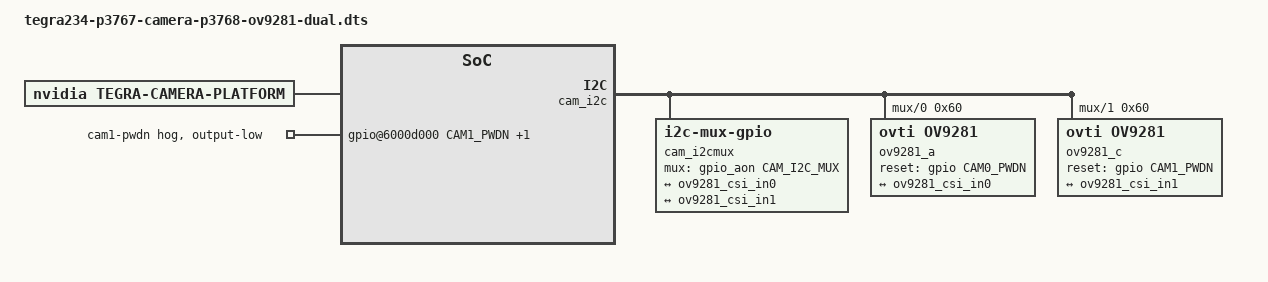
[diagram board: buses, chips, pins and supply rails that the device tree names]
// SPDX-License-Identifier: GPL-2.0-only
/*
 * Jetson Device-tree overlay for dual camera OV9281 on dual
 * cam connector baseboards
 *
 * Copyright (c) 2022-2023 NVIDIA CORPORATION. All rights reserved.
 *
 */

/dts-v1/;
/plugin/;


#define CAM0_PWDN       TEGRA234_MAIN_GPIO(H, 6)
#define CAM1_PWDN       TEGRA234_MAIN_GPIO(AC, 0)
#define CAM_I2C_MUX     TEGRA234_AON_GPIO(CC, 3)

#include <dt-bindings/tegra234-p3767-0000-common.h>
//#include <dt-bindings/clock/tegra234-clock.h>

/ {
       overlay-name = "Camera OV9281 Dual";
       jetson-header-name = "Jetson 24pin CSI Connector";
       compatible = JETSON_COMPATIBLE_P3768;

       fragment@0 {
                target-path = "/";
                __overlay__ {
		       tegra-capture-vi  {
				num-channels = <2>;
				ports {
					#address-cells = <1>;
					#size-cells = <0>;
					port@0 {
						reg = <0>;
						ov9281_vi_in0: endpoint {
							port-index = <1>;
							bus-width = <2>;
							remote-endpoint = <&ov9281_csi_out0>;
						};
					};
					port@1 {
						reg = <1>;
						ov9281_vi_in1: endpoint {
							port-index = <2>;
							bus-width = <2>;
							remote-endpoint = <&ov9281_csi_out1>;
						};
					};
				};
			};
		        tegra-camera-platform {
				compatible = "nvidia, tegra-camera-platform";
				/**
				* Physical settings to calculate max ISO BW
				*
				* num_csi_lanes = <>;
				* Total number of CSI lanes when all cameras are active
				*
				* max_lane_speed = <>;
				* Max lane speed in Kbit/s
				*
				* min_bits_per_pixel = <>;
				* Min bits per pixel
				*
				* vi_peak_byte_per_pixel = <>;
				* Max byte per pixel for the VI ISO case
				*
				* vi_bw_margin_pct = <>;
				* Vi bandwidth margin in percentage
				*
				* max_pixel_rate = <>;
				* Max pixel rate in Kpixel/s for the ISP ISO case
				*
				* isp_peak_byte_per_pixel = <>;
				* Max byte per pixel for the ISP ISO case
				*
				* isp_bw_margin_pct = <>;
				* Isp bandwidth margin in percentage
				*/
				num_csi_lanes = <4>;
				max_lane_speed = <1500000>;
				min_bits_per_pixel = <8>;
				vi_peak_byte_per_pixel = <2>;
				vi_bw_margin_pct = <25>;
				max_pixel_rate = <7500000>; /* RJS <240000>; */
				isp_peak_byte_per_pixel = <5>;
				isp_bw_margin_pct = <25>;

				/**
				 * The general guideline for naming badge_info contains 3 parts, and is as follows,
				 * The first part is the camera_board_id for the module; if the module is in a FFD
				 * platform, then use the platform name for this part.
				 * The second part contains the position of the module, ex. "rear" or "front".
				 * The third part contains the last 6 characters of a part number which is found
				 * in the module's specsheet from the vendor.
				 */
				modules {
					module0 {
						badge = "jakku_front_RBP194";
						position = "front";
						orientation = "1";
						drivernode0 {
							pcl_id = "v4l2_sensor";
							sysfs-device-tree = "/sys/firmware/devicetree/base/bus@0/cam_i2cmux/i2c@0/ov9281_a@60";
						};
					};
					module1 {
						badge = "jakku_rear_RBP194";
						position = "rear";
						orientation = "1";
						drivernode0 {
						       pcl_id = "v4l2_sensor";
							sysfs-device-tree = "/sys/firmware/devicetree/base/bus@0/cam_i2cmux/i2c@1/ov9281_c@60";
						};
					};
				};
			};
                        bus@0 {
				host1x@13e00000 {
					nvcsi@15a00000 {
						num-channels = <2>;
						#address-cells = <1>;
						#size-cells = <0>;
						channel@0 {
							reg = <0>;
							ports {
								#address-cells = <1>;
								#size-cells = <0>;
								port@0 {
									reg = <0>;
									ov9281_csi_in0: endpoint@0 {
										port-index = <1>;
										bus-width = <2>;
										remote-endpoint = <&ov9281_out0>;
									};
								};
								port@1 {
									reg = <1>;
									ov9281_csi_out0: endpoint@1 {
										remote-endpoint = <&ov9281_vi_in0>;
									};
								};
							};
						};
						channel@1 {
							reg = <1>;
							ports {
								#address-cells = <1>;
								#size-cells = <0>;
								port@0 {
									reg = <0>;
									ov9281_csi_in1: endpoint@2 {
										port-index = <2>;
										bus-width = <2>;
										remote-endpoint = <&ov9281_out1>;
									};
								};
								port@1 {
									reg = <1>;
									ov9281_csi_out1: endpoint@3 {
										remote-endpoint = <&ov9281_vi_in1>;
									};
								};
							};
						};
					};
				};
				cam_i2cmux {
				       status = "okay";
				       compatible = "i2c-mux-gpio";
				       #address-cells = <1>;
				       #size-cells = <0>;
				       mux-gpios = <&gpio_aon CAM_I2C_MUX GPIO_ACTIVE_HIGH>;
				       i2c-parent = <&cam_i2c>;
				       i2c@0 {
					       status = "okay";
					       reg = <0>;
					       #address-cells = <1>;
					       #size-cells = <0>;
						rbpcv2_imx219_a@10 {
							status = "disabled";
						};
						ov9281_a@60 {
						       reset-gpios = <&gpio CAM0_PWDN GPIO_ACTIVE_HIGH>;
							compatible = "ovti,ov9281";
							/* I2C device address */
							reg = <0x60>;

							/*hzhy add */
							/*clocks = <&bpmp_clk TEGRA234_CLK_EXTPERIPH1>;
							clock-names = "extperiph1";
							mclk = "extperiph1";
							fsync = "none"; */

							/* V4L2 device node location */
							devnode = "video0";

							/* Physical dimensions of sensor */
							physical_w = "3.680";
							physical_h = "2.760";

							sensor_model = "ov9281";

							use_sensor_mode_id = "true";

							/**
							* ==== Modes ====
							* A modeX node is required to support v4l2 driver
							* implementation with NVIDIA camera software stack
							*
							* == Signal properties ==
							*
							* phy_mode = "";
							* PHY mode used by the MIPI lanes for this device
							*
							* tegra_sinterface = "";
							* CSI Serial interface connected to tegra
							* Incase of virtual HW devices, use virtual
							* For SW emulated devices, use host
							*
							* pix_clk_hz = "";
							* Sensor pixel clock used for calculations like exposure and framerate
							*
							* readout_orientation = "0";
							* Based on camera module orientation.
							* Only change readout_orientation if you specifically
							* Program a different readout order for this mode
							*
							* lane_polarity
							* Based on the camera connector pin.
							* CSIx_D0 | CSIx_D1 | CSI(X+1)_D0 | CSI(X+1)CSIx_D1
							*    LSB  |   BIT1  |     BIT2    |      MSB
							* if there is a polarity swap on any lane, the bit corrsponding
							* to the lane should be set
							* e.g. polarity swap on CSIx_D0 only -> lane_polarity = "1"; 0001
							* e.g. polarity swap on CSIx_D1 and CSI(X+1)_D0 -> lane_polarity = "6"; 0110
							*
							* == Image format Properties ==
							*
							* active_w = "";
							* Pixel active region width
							*
							* active_h = "";
							* Pixel active region height
							*
							* pixel_t = "";
							* The sensor readout pixel pattern
							*
							* line_length = "";
							* Pixel line length (width) for sensor mode.
							*
							* == Source Control Settings ==
							*
							* Gain factor used to convert fixed point integer to float
							* Gain range [min_gain/gain_factor, max_gain/gain_factor]
							* Gain step [step_gain/gain_factor is the smallest step that can be configured]
							* Default gain [Default gain to be initialized for the control.
							*     use min_gain_val as default for optimal results]
							* Framerate factor used to convert fixed point integer to float
							* Framerate range [min_framerate/framerate_factor, max_framerate/framerate_factor]
							* Framerate step [step_framerate/framerate_factor is the smallest step that can be configured]
							* Default Framerate [Default framerate to be initialized for the control.
							*     use max_framerate to get required performance]
							* Exposure factor used to convert fixed point integer to float
							* For convenience use 1 sec = 1000000us as conversion factor
							* Exposure range [min_exp_time/exposure_factor, max_exp_time/exposure_factor]
							* Exposure step [step_exp_time/exposure_factor is the smallest step that can be configured]
							* Default Exposure Time [Default exposure to be initialized for the control.
							*     Set default exposure based on the default_framerate for optimal exposure settings]
							*
							* gain_factor = ""; (integer factor used for floating to fixed point conversion)
							* min_gain_val = ""; (ceil to integer)
							* max_gain_val = ""; (ceil to integer)
							* step_gain_val = ""; (ceil to integer)
							* default_gain = ""; (ceil to integer)
							* Gain limits for mode
							*
							* exposure_factor = ""; (integer factor used for floating to fixed point conversion)
							* min_exp_time = ""; (ceil to integer)
							* max_exp_time = ""; (ceil to integer)
							* step_exp_time = ""; (ceil to integer)
							* default_exp_time = ""; (ceil to integer)
							* Exposure Time limits for mode (sec)
							*
							* framerate_factor = ""; (integer factor used for floating to fixed point conversion)
							* min_framerate = ""; (ceil to integer)
							* max_framerate = ""; (ceil to integer)
							* step_framerate = ""; (ceil to integer)
							* default_framerate = ""; (ceil to integer)
							* Framerate limits for mode (fps)
							*
							* embedded_metadata_height = "";
							* Sensor embedded metadata height in units of rows.
							* If sensor does not support embedded metadata value should be 0.
							*/
							mode0 { /* OV9281_MODE_1280x720_144FPS */
								mclk_khz = "24000";
								num_lanes = "2";
								tegra_sinterface = "serial_b";
								phy_mode = "DPHY";
								discontinuous_clk = "yes"; /* yes rjs */
								dpcm_enable = "false";
								cil_settletime = "0";
								lane_polarity = "6";

								active_w = "1280";
								active_h = "720";
								mode_type = "grey";
								pixel_phase = "y";
								csi_pixel_bit_depth = "8";
								readout_orientation = "90";
								line_length = "1355"; /* 1408 rjs */
								inherent_gain = "1";
								/*mclk_multiplier = "9.33";*/ /* 9.33 rjs */
								pix_clk_hz = "130900000"; /* "74250000" ; */ /* 800000000 rjs */

								gain_factor = "1";
								framerate_factor = "1";
								exposure_factor = "1";
								min_gain_val = "1"; /* 1.00x */
								max_gain_val = "8191"; /* 10.66x */
								step_gain_val = "1";
								default_gain = "16"; /* 1.00x */
								min_hdr_ratio = "1";
								max_hdr_ratio = "1";
								min_framerate = "2000000"; /* 2.0 fps */
								max_framerate = "144000000"; /* 120.0 fps */
								step_framerate = "1";
								default_framerate = "144000000"; /* 120.0 fps */
								min_exp_time = "1"; /* us */
								max_exp_time = "16777215"; /* us */
								step_exp_time = "1";
								default_exp_time = "10896"; /* us */

								embedded_metadata_height = "0";
							};

							ports {
								#address-cells = <1>;
								#size-cells = <0>;
								port@0 {
									reg = <0>;
									ov9281_out0: endpoint {
										status = "okay";
										port-index = <1>;
										bus-width = <2>;
										remote-endpoint = <&ov9281_csi_in0>;
									};
								};
							};
						};
					};
					i2c@1 {
					       status = "okay";
					       reg = <1>;
					       #address-cells = <1>;
					       #size-cells = <0>;
						rbpcv2_imx219_c@10 {
							status = "disabled";
						};
						ov9281_c@60 {
						       reset-gpios = <&gpio CAM1_PWDN GPIO_ACTIVE_HIGH>;
							compatible = "ovti,ov9281";
							/* I2C device address */
							reg = <0x60>;

							/*hzhy add */
							
							/*clocks = <&bpmp_clk TEGRA234_CLK_EXTPERIPH1>;
							clock-names = "extperiph1";
							mclk = "extperiph1";
							fsync = "none"; */
							

							/* V4L2 device node location */
							devnode = "video1";

							/* Physical dimensions of sensor */
							physical_w = "3.680";
							physical_h = "2.760";

							sensor_model = "ov9281";

							use_sensor_mode_id = "true";

							/**
							* ==== Modes ====
							* A modeX node is required to support v4l2 driver
							* implementation with NVIDIA camera software stack
							*
							* == Signal properties ==
							*
							* phy_mode = "";
							* PHY mode used by the MIPI lanes for this device
							*
							* tegra_sinterface = "";
							* CSI Serial interface connected to tegra
							* Incase of virtual HW devices, use virtual
							* For SW emulated devices, use host
							*
							* pix_clk_hz = "";
							* Sensor pixel clock used for calculations like exposure and framerate
							*
							* readout_orientation = "0";
							* Based on camera module orientation.
							* Only change readout_orientation if you specifically
							* Program a different readout order for this mode
							*
							* == Image format Properties ==
							*
							* active_w = "";
							* Pixel active region width
							*
							* active_h = "";
							* Pixel active region height
							*
							* pixel_t = "";
							* The sensor readout pixel pattern
							*
							* line_length = "";
							* Pixel line length (width) for sensor mode.
							*
							* == Source Control Settings ==
							*
							* Gain factor used to convert fixed point integer to float
							* Gain range [min_gain/gain_factor, max_gain/gain_factor]
							* Gain step [step_gain/gain_factor is the smallest step that can be configured]
							* Default gain [Default gain to be initialized for the control.
							*     use min_gain_val as default for optimal results]
							* Framerate factor used to convert fixed point integer to float
							* Framerate range [min_framerate/framerate_factor, max_framerate/framerate_factor]
							* Framerate step [step_framerate/framerate_factor is the smallest step that can be configured]
							* Default Framerate [Default framerate to be initialized for the control.
							*     use max_framerate to get required performance]
							* Exposure factor used to convert fixed point integer to float
							* For convenience use 1 sec = 1000000us as conversion factor
							* Exposure range [min_exp_time/exposure_factor, max_exp_time/exposure_factor]
							* Exposure step [step_exp_time/exposure_factor is the smallest step that can be configured]
							* Default Exposure Time [Default exposure to be initialized for the control.
							*     Set default exposure based on the default_framerate for optimal exposure settings]
							*
							* gain_factor = ""; (integer factor used for floating to fixed point conversion)
							* min_gain_val = ""; (ceil to integer)
							* max_gain_val = ""; (ceil to integer)
							* step_gain_val = ""; (ceil to integer)
							* default_gain = ""; (ceil to integer)
							* Gain limits for mode
							*
							* exposure_factor = ""; (integer factor used for floating to fixed point conversion)
							* min_exp_time = ""; (ceil to integer)
							* max_exp_time = ""; (ceil to integer)
							* step_exp_time = ""; (ceil to integer)
							* default_exp_time = ""; (ceil to integer)
							* Exposure Time limits for mode (sec)
							*
							* framerate_factor = ""; (integer factor used for floating to fixed point conversion)
							* min_framerate = ""; (ceil to integer)
							* max_framerate = ""; (ceil to integer)
							* step_framerate = ""; (ceil to integer)
							* default_framerate = ""; (ceil to integer)
							* Framerate limits for mode (fps)
							*
							* embedded_metadata_height = "";
							* Sensor embedded metadata height in units of rows.
							* If sensor does not support embedded metadata value should be 0.
							*/
							mode0 { /* OV9281_MODE_1280x720_144FPS */
								mclk_khz = "24000";
								num_lanes = "2";
								tegra_sinterface = "serial_c";
								phy_mode = "DPHY";
								discontinuous_clk = "yes"; /* yes rjs */
								dpcm_enable = "false";
								cil_settletime = "0";
								lane_polarity = "0";

								active_w = "1280";
								active_h = "720";
								mode_type = "grey";
								pixel_phase = "y";
								csi_pixel_bit_depth = "8";
								readout_orientation = "90";
								line_length = "1355"; /*1408*/
								inherent_gain = "1";
								/*mclk_multiplier = "9.33";*/ /* 9.33 rjs */
								pix_clk_hz = "130900000"; /* "74250000" ; */ /* 800000000 rjs */

								gain_factor = "1";
								framerate_factor = "1";
								exposure_factor = "1";
								min_gain_val = "1"; /* 1.00x */
								max_gain_val = "8191"; /* 10.66x */
								step_gain_val = "1";
								default_gain = "16"; /* 1.00x */
								min_hdr_ratio = "1";
								max_hdr_ratio = "1";
								min_framerate = "2000000"; /* 2.0 fps */
								max_framerate = "144000000"; /* 120.0 fps */
								step_framerate = "1";
								default_framerate = "144000000"; /* 120.0 fps */
								min_exp_time = "1"; /* us */
								max_exp_time = "16777215"; /* us */
								step_exp_time = "1";
								default_exp_time = "10896"; /* us */

								embedded_metadata_height = "0";
							};


							ports {
								#address-cells = <1>;
								#size-cells = <0>;
								port@0 {
									reg = <0>;
									ov9281_out1: endpoint {
										status = "okay";
										port-index = <2>;
										bus-width = <2>;
										remote-endpoint = <&ov9281_csi_in1>;
									};
								};
							};
						};
					};
				};
			       gpio@6000d000 {
					camera-control-output-low {
						gpio-hog;
						output-low;
						gpios = <CAM1_PWDN 0  CAM0_PWDN 0>;
						label = "cam1-pwdn", "cam0-pwdn";
					};
				};
			};
		};
	};
};
